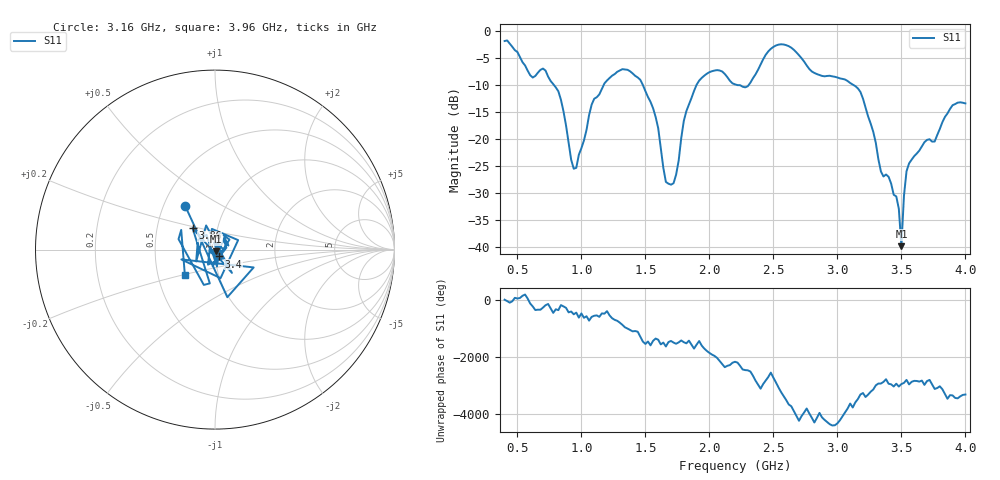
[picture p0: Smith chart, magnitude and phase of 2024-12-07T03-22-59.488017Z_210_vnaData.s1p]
!Created with skrf (http://scikit-rf.org).
# Hz S RI R 50.0
!freq ReS11 ImS11
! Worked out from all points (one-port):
!   181 points, 400 MHz to 4 GHz, reference 50 ohm
!   lowest |S11| = -39.9 dB at 3.5 GHz (marker M1), VSWR 1.02, Z = 50.4 - j0.946 ohm
!   |S11| at or under -10 dB: 786.9 MHz to 1.173 GHz (386.3 MHz wide, 39.4 % of centre); 1.481 GHz to 1.898 GHz (417.1 MHz wide, 24.7 % of centre); 3.129 GHz to end of sweep (the widest 3 of 4)
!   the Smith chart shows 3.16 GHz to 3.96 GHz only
!   S11 on the Smith chart (normalised r, x): 3.16 GHz: 0.64, +0.34; 3.4 GHz: 1.05, -0.08; 3.86 GHz: 0.76, +0.19; 3.96 GHz: 0.69, -0.20
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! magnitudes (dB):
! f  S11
! 400 MHz  -1.8
! 620 MHz  -8.6
! 720 MHz  -7.3
! 860 MHz  -14.9
! 920 MHz  -23.8
! 960 MHz  -25.4
! 1.1 GHz  -12.5
! 1.3 GHz  -7.3
! 1.54 GHz  -13.1
! 1.66 GHz  -28.0
! 1.76 GHz  -24.0
! 1.8 GHz  -16.6
! 1.92 GHz  -9.1
! 2.2 GHz  -9.8
! 2.3 GHz  -10.2
! 2.5 GHz  -2.9
! 2.66 GHz  -3.4
! 3.1 GHz  -9.6
! 3.16 GHz  -10.6
! 3.34 GHz  -26.0
! 3.4 GHz  -27.0
! 3.48 GHz  -33.0
! 3.5 GHz  -39.9
! 3.52 GHz  -30.6
! 3.56 GHz  -24.5
! 3.86 GHz  -15.2
! 3.96 GHz  -13.2
! 4 GHz  -13.4
